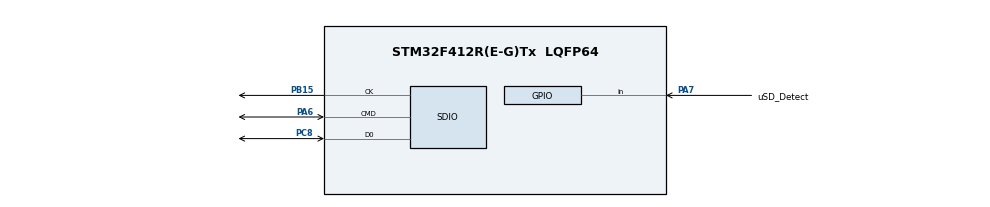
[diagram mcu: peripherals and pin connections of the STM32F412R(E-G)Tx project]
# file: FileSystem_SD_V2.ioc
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Dma.Request0=SDIO_RX
Dma.Request1=SDIO_TX
Dma.SDIO_RX.0.Direction=DMA_PERIPH_TO_MEMORY
Dma.SDIO_RX.0.FIFOMode=DMA_FIFOMODE_ENABLE
Dma.SDIO_RX.0.FIFOThreshold=DMA_FIFO_THRESHOLD_FULL
Dma.SDIO_RX.0.Instance=DMA2_Stream3
Dma.SDIO_RX.0.MemBurst=DMA_MBURST_INC4
Dma.SDIO_RX.0.MemDataAlignment=DMA_MDATAALIGN_WORD
Dma.SDIO_RX.0.MemInc=DMA_MINC_ENABLE
Dma.SDIO_RX.0.Mode=DMA_PFCTRL
Dma.SDIO_RX.0.PeriphBurst=DMA_PBURST_INC4
Dma.SDIO_RX.0.PeriphDataAlignment=DMA_PDATAALIGN_WORD
Dma.SDIO_RX.0.PeriphInc=DMA_PINC_DISABLE
Dma.SDIO_RX.0.Priority=DMA_PRIORITY_LOW
Dma.SDIO_TX.1.Direction=DMA_MEMORY_TO_PERIPH
Dma.SDIO_TX.1.FIFOMode=DMA_FIFOMODE_ENABLE
Dma.SDIO_TX.1.FIFOThreshold=DMA_FIFO_THRESHOLD_FULL
Dma.SDIO_TX.1.Instance=DMA2_Stream6
Dma.SDIO_TX.1.MemBurst=DMA_MBURST_INC4
Dma.SDIO_TX.1.MemDataAlignment=DMA_MDATAALIGN_WORD
Dma.SDIO_TX.1.MemInc=DMA_MINC_ENABLE
Dma.SDIO_TX.1.Mode=DMA_PFCTRL
Dma.SDIO_TX.1.PeriphBurst=DMA_PBURST_INC4
Dma.SDIO_TX.1.PeriphDataAlignment=DMA_PDATAALIGN_WORD
Dma.SDIO_TX.1.PeriphInc=DMA_PINC_DISABLE
Dma.SDIO_TX.1.Priority=DMA_PRIORITY_LOW
FATFS.BSP.number=1
FATFS.USE_DMA_CODE_SD=1
FATFS0.BSP.STBoard=false
FATFS0.BSP.api=Unknown
FATFS0.BSP.instance=PA7
FATFS0.BSP.ip=GPIO
FATFS0.BSP.mode=Input
FATFS0.BSP.name=Detect_SDIO
FATFS0.BSP.solution=PA7
Mcu.Family=STM32F4
Mcu.Name=STM32F412R(E-G)Tx
Mcu.Package=LQFP64
NVIC.DMA2_Stream3_IRQn=true\:0\:0\:false\:false\:true\:false\:true\:true
NVIC.DMA2_Stream6_IRQn=true\:0\:0\:false\:false\:true\:false\:true\:true
NVIC.PriorityGroup=NVIC_PRIORITYGROUP_4
NVIC.SDIO_IRQn=true\:0\:0\:false\:false\:true\:true\:true\:true
PA13.Mode=Trace_Asynchronous_SW
PA13.Signal=SYS_JTMS-SWDIO
PA14.Mode=Trace_Asynchronous_SW
PA14.Signal=SYS_JTCK-SWCLK
PA6.Mode=SD_1_bit
PA6.Signal=SDIO_CMD
PA7.GPIO_Label=uSD_Detect
PA7.Signal=GPIO_Input
PB15.Mode=SD_1_bit
PB15.Signal=SDIO_CK
PB3.Mode=Trace_Asynchronous_SW
PB3.Signal=SYS_JTDO-SWO
PC8.Mode=SD_1_bit
PC8.Signal=SDIO_D0
PH0\ -\ OSC_IN.Mode=HSE-External-Oscillator
PH0\ -\ OSC_IN.Signal=RCC_OSC_IN
PH1\ -\ OSC_OUT.Mode=HSE-External-Oscillator
PH1\ -\ OSC_OUT.Signal=RCC_OSC_OUT
ProjectManager.HeapSize=0x200
ProjectManager.StackSize=0x400
ProjectManager.TargetToolchain=STM32CubeIDE
RCC.CortexFreq_Value=16000000
RCC.PLLM=8
RCC.PLLN=50
RCC.USBFreq_Value=50000000
RCC.VCOOutputFreq_Value=100000000
VP_FATFS_VS_SDIO.Mode=SDIO
board=custom

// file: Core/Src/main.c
/* USER CODE BEGIN Header */
/**
  ******************************************************************************
  * @file           : main.c
  * @brief          : Main program body
  ******************************************************************************
  * @attention
  *
  * Copyright (c) 2022 STMicroelectronics.
  * All rights reserved.
  *
  * This software is licensed under terms that can be found in the LICENSE file
  * in the root directory of this software component.
  * If no LICENSE file comes with this software, it is provided AS-IS.
  *
  ******************************************************************************
  */
/* USER CODE END Header */
#include "main.h"
#include "fatfs.h"

/* USER CODE BEGIN Includes */
#include <string.h>
/* USER CODE END Includes */

SD_HandleTypeDef hsd;
DMA_HandleTypeDef hdma_sdio_rx;
DMA_HandleTypeDef hdma_sdio_tx;

void SystemClock_Config(void);
static void MX_GPIO_Init(void);
static void MX_DMA_Init(void);
static void MX_SDIO_SD_Init(void);

int main(void)
{
  /* USER CODE BEGIN 1 */
  FRESULT res;
  //FATFS SDFatFS;
  //FIL SDFile;
  //uint8_t SDPath[] = "";
  uint32_t WrittenBytes, ReadBytes;
  uint8_t WriteBuffer[] = "Text Example Lets see if this works /n ans if /n works fine";
  uint8_t ReadBuffer[_MAX_SS];
  /* USER CODE END 1 */

  /* MCU Configuration--------------------------------------------------------*/

  /* Reset of all peripherals, Initializes the Flash interface and the Systick. */
  HAL_Init();

  /* Configure the system clock */
  SystemClock_Config();

  /* Initialize all configured peripherals */
  MX_GPIO_Init();
  MX_FATFS_Init();
  /* USER CODE BEGIN 2 */
  if (f_mount(&SDFatFS, (TCHAR const*)SDPath,1) != FR_OK)
	  Error_Handler();

  if(f_mkfs((TCHAR const*)SDPath, FM_ANY, 0, ReadBuffer, sizeof(ReadBuffer)) != FR_OK)
	  Error_Handler();
  // Open a File
  if (f_open(&SDFile, "STM32_SDText.txt",FA_CREATE_ALWAYS | FA_WRITE) != FR_OK)
	  Error_Handler();

  // Write Text
  res = f_write(&SDFile,WriteBuffer,strlen((char*)WriteBuffer),(void *)& WrittenBytes);

  if (res != FR_OK)
	  Error_Handler();

  f_close(&SDFile);

  // Read from File
  if (f_open(&SDFile, "STM32_SDText.txt",FA_READ) != FR_OK)
	  Error_Handler();

  memset(ReadBuffer,0,sizeof(ReadBuffer)); // Reset Buffer
  res = f_read(&SDFile,ReadBuffer,sizeof(ReadBuffer),(UINT *)&ReadBytes);

  if(res != FR_OK)
	  Error_Handler();

  f_close(&SDFile);
  /* USER CODE END 1 */

  /* MCU Configuration--------------------------------------------------------*/

  /* Reset of all peripherals, Initializes the Flash interface and the Systick. */
  HAL_Init();

  /* USER CODE BEGIN Init */

  /* USER CODE END Init */

  /* Configure the system clock */
  SystemClock_Config();

  /* USER CODE BEGIN SysInit */

  /* USER CODE END SysInit */

  /* Initialize all configured peripherals */
  MX_GPIO_Init();
  MX_DMA_Init();
  MX_SDIO_SD_Init();
  MX_FATFS_Init();
  /* USER CODE BEGIN 2 */

  /* USER CODE END 2 */

  /* Infinite loop */
  while (1)
  {

  }
}

void SystemClock_Config(void)
{
  RCC_OscInitTypeDef RCC_OscInitStruct = {0};
  RCC_ClkInitTypeDef RCC_ClkInitStruct = {0};

  /** Configure the main internal regulator output voltage
  */
  __HAL_RCC_PWR_CLK_ENABLE();
  __HAL_PWR_VOLTAGESCALING_CONFIG(PWR_REGULATOR_VOLTAGE_SCALE1);

  /** Initializes the RCC Oscillators according to the specified parameters
  * in the RCC_OscInitTypeDef structure.
  */
  RCC_OscInitStruct.OscillatorType = RCC_OSCILLATORTYPE_HSI;
  RCC_OscInitStruct.HSIState = RCC_HSI_ON;
  RCC_OscInitStruct.HSICalibrationValue = RCC_HSICALIBRATION_DEFAULT;
  RCC_OscInitStruct.PLL.PLLState = RCC_PLL_ON;
  RCC_OscInitStruct.PLL.PLLSource = RCC_PLLSOURCE_HSI;
  RCC_OscInitStruct.PLL.PLLM = 8;
  RCC_OscInitStruct.PLL.PLLN = 50;
  RCC_OscInitStruct.PLL.PLLP = RCC_PLLP_DIV2;
  RCC_OscInitStruct.PLL.PLLQ = 2;
  RCC_OscInitStruct.PLL.PLLR = 2;
  if (HAL_RCC_OscConfig(&RCC_OscInitStruct) != HAL_OK)
  {
    Error_Handler();
  }

  /** Initializes the CPU, AHB and APB buses clocks
  */
  RCC_ClkInitStruct.ClockType = RCC_CLOCKTYPE_HCLK|RCC_CLOCKTYPE_SYSCLK
                              |RCC_CLOCKTYPE_PCLK1|RCC_CLOCKTYPE_PCLK2;
  RCC_ClkInitStruct.SYSCLKSource = RCC_SYSCLKSOURCE_HSI;
  RCC_ClkInitStruct.AHBCLKDivider = RCC_SYSCLK_DIV1;
  RCC_ClkInitStruct.APB1CLKDivider = RCC_HCLK_DIV1;
  RCC_ClkInitStruct.APB2CLKDivider = RCC_HCLK_DIV1;

  if (HAL_RCC_ClockConfig(&RCC_ClkInitStruct, FLASH_LATENCY_0) != HAL_OK)
  {
    Error_Handler();
  }
}

static void MX_SDIO_SD_Init(void)
{

  hsd.Instance = SDIO;
  hsd.Init.ClockEdge = SDIO_CLOCK_EDGE_RISING;
  hsd.Init.ClockBypass = SDIO_CLOCK_BYPASS_DISABLE;
  hsd.Init.ClockPowerSave = SDIO_CLOCK_POWER_SAVE_DISABLE;
  hsd.Init.BusWide = SDIO_BUS_WIDE_1B;
  hsd.Init.HardwareFlowControl = SDIO_HARDWARE_FLOW_CONTROL_DISABLE;
  hsd.Init.ClockDiv = 0;

}

static void MX_DMA_Init(void)
{

  /* DMA controller clock enable */
  __HAL_RCC_DMA2_CLK_ENABLE();

  /* DMA interrupt init */
  /* DMA2_Stream3_IRQn interrupt configuration */
  HAL_NVIC_SetPriority(DMA2_Stream3_IRQn, 0, 0);
  HAL_NVIC_EnableIRQ(DMA2_Stream3_IRQn);
  /* DMA2_Stream6_IRQn interrupt configuration */
  HAL_NVIC_SetPriority(DMA2_Stream6_IRQn, 0, 0);
  HAL_NVIC_EnableIRQ(DMA2_Stream6_IRQn);

}

static void MX_GPIO_Init(void)
{
  GPIO_InitTypeDef GPIO_InitStruct = {0};

  /* GPIO Ports Clock Enable */
  __HAL_RCC_GPIOH_CLK_ENABLE();
  __HAL_RCC_GPIOA_CLK_ENABLE();
  __HAL_RCC_GPIOB_CLK_ENABLE();
  __HAL_RCC_GPIOC_CLK_ENABLE();

  /*Configure GPIO pin : uSD_Detect_Pin */
  GPIO_InitStruct.Pin = uSD_Detect_Pin;
  GPIO_InitStruct.Mode = GPIO_MODE_INPUT;
  GPIO_InitStruct.Pull = GPIO_NOPULL;
  HAL_GPIO_Init(uSD_Detect_GPIO_Port, &GPIO_InitStruct);

}

void Error_Handler(void)
{
  __disable_irq();
  while (1)
  {
  }
}
